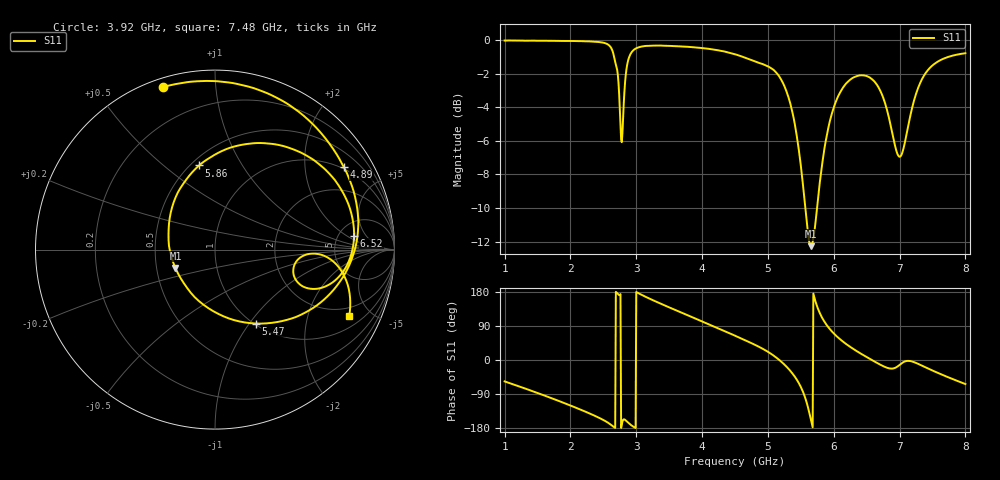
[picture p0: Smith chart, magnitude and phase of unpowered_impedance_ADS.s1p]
! Created Mon Jan 15 10:18:24 2018
# hz S ri R 50
! 1 Port Network Data from SP2.SP block
! freq  reS11  imS11
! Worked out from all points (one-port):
!   701 points, 1 GHz to 8 GHz, reference 50 ohm
!   lowest |S11| = -12.3 dB at 5.65 GHz (marker M1), VSWR 1.64, Z = 31.4 - j6.86 ohm
!   |S11| at or under -10 dB: 5.568 GHz to 5.746 GHz (177.9 MHz wide, 3.14 % of centre)
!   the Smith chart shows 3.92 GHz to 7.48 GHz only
!   S11 on the Smith chart (normalised r, x): 3.92 GHz: 0.04, +0.73; 4.89 GHz: 0.95, +3.17; 5.47 GHz: 1.02, -1.07; 5.86 GHz: 0.55, +0.67; 6.52 GHz: 6.94, +2.75; 7.48 GHz: 1.53, -3.70
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1e9  0.5507 -0.8314
1.46e9  0.0952 -0.9917
1.88e9  -0.3707 -0.9226
2.24e9  -0.7282 -0.6731
2.55e9  -0.934 -0.2813
2.67e9  -0.8791 -0.0254
2.75e9  -0.6172 0.0957
2.79e9  -0.5039 -0.1603
2.85e9  -0.7728 -0.2633
2.94e9  -0.9211 -0.0954
3.11e9  -0.9428 0.1759
3.63e9  -0.6061 0.7433
3.92e9  -0.2895 0.9052
4.5e9  0.3954 0.8173
4.89e9  0.7184 0.4581
5.17e9  0.7807 0.00614
5.38e9  0.477 -0.3639
5.47e9  0.2271 -0.4119
5.65e9  -0.2204 -0.1029
5.86e9  -0.0888 0.4689
6.03e9  0.276 0.5928
6.25e9  0.6275 0.4331
6.52e9  0.775 0.0779
6.82e9  0.5674 -0.2183
6.98e9  0.4359 -0.1229
7.13e9  0.5529 -0.0225
7.48e9  0.7481 -0.3688
8e9  0.4076 -0.8182
